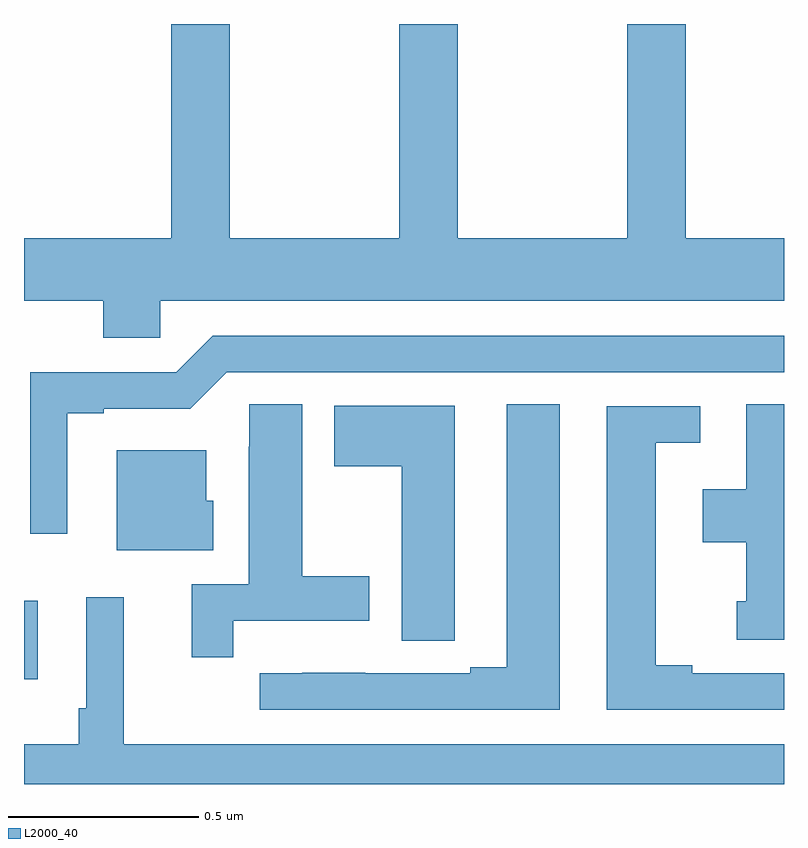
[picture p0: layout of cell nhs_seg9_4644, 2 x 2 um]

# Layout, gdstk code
import gdstk
lib = gdstk.Library(unit=1e-6, precision=1e-09)
def R(c, l, rs):  # rectangles x0, y0, x1, y1
    for r in rs: c.add(gdstk.rectangle(r[:2], r[2:], *l))
def P(c, l, *ps):  # polygons
    for p in ps: c.add(gdstk.Polygon(p, *l))
L2000_40 = (2000, 40)

nhs_seg9_4644 = lib.new_cell('nhs_seg9_4644')
R(nhs_seg9_4644, L2000_40, [(169,1176.776,169.036,1176.982)])
P(nhs_seg9_4644, L2000_40, [(169.359,1177.772),(171,1177.772),(171,1177.936),(170.742,1177.936),(170.742,1178.5),(170.587,1178.5),(170.587,1177.936),(170.142,1177.936),(170.142,1178.5),(169.987,1178.5),(169.987,1177.936),(169.542,1177.936),(169.542,1178.5),(169.387,1178.5),(169.387,1177.936),(169,1177.936),(169,1177.772),(169.208,1177.772),(169.208,1177.674),(169.359,1177.674)],
  [(169.114,1177.476),(169.21,1177.476),(169.21,1177.488),(169.437,1177.488),(169.533,1177.584),(171,1177.584),(171,1177.68),(169.497,1177.68),(169.401,1177.584),(169.017,1177.584),(169.017,1177.158),(169.114,1177.158)],
  [(170.41,1177.499),(170.27,1177.499),(170.27,1176.807),(170.174,1176.807),(170.174,1176.792),(169.898,1176.792),(169.898,1176.793),(169.732,1176.793),(169.732,1176.792),(169.62,1176.792),(169.62,1176.696),(170.41,1176.696)],
  [(171,1177.499),(170.9,1177.499),(170.9,1177.276),(170.786,1177.276),(170.786,1177.136),(170.9,1177.136),(170.9,1176.981),(170.876,1176.981),(170.876,1176.879),(171,1176.879)],
  [(169.55,1176.93),(169.909,1176.93),(169.909,1177.047),(169.732,1177.047),(169.732,1177.499),(169.593,1177.499),(169.593,1177.388),(169.592,1177.388),(169.592,1177.026),(169.442,1177.026),(169.442,1176.834),(169.55,1176.834)],
  [(170.133,1176.985),(170.134,1176.985),(170.134,1177.495),(169.817,1177.495),(169.817,1177.336),(169.994,1177.336),(169.994,1176.877),(170.133,1176.877)],
  [(171,1176.792),(170.758,1176.792),(170.758,1176.812),(170.662,1176.812),(170.662,1177.398),(170.779,1177.398),(170.779,1177.494),(170.534,1177.494),(170.534,1176.696),(171,1176.696)],
  [(169.498,1177.245),(169.48,1177.245),(169.48,1177.378),(169.244,1177.378),(169.244,1177.115),(169.498,1177.115)],
  [(171,1176.604),(169.262,1176.604),(169.262,1176.991),(169.164,1176.991),(169.164,1176.7),(169.144,1176.7),(169.144,1176.604),(169,1176.604),(169,1176.5),(171,1176.5)])

lib.write_gds('nhs_seg9_4644.gds')
